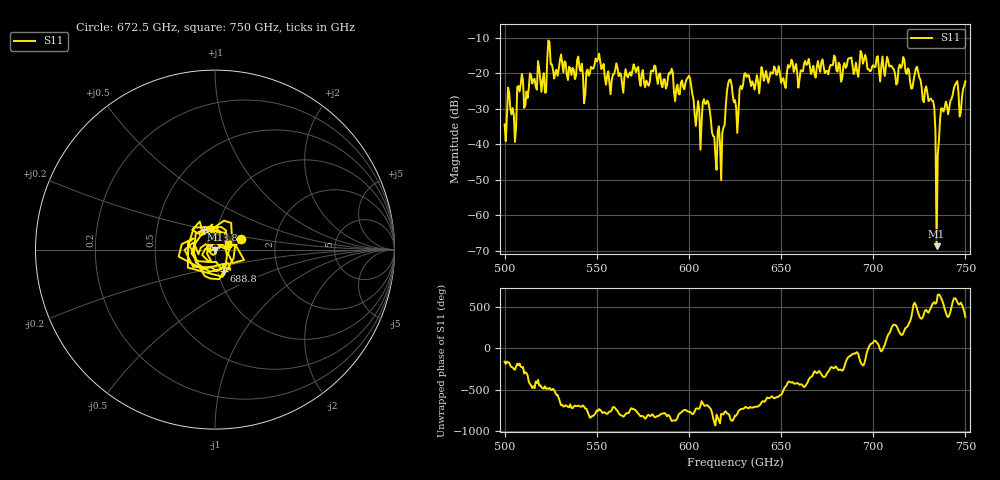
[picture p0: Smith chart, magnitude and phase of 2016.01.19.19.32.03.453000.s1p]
!Created with skrf (http://scikit-rf.org).
# GHz S RI R 50.0
!freq ReS11 ImS11
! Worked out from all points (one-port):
!   401 points, 500 GHz to 750 GHz, reference 50 ohm
!   lowest |S11| = -68.6 dB at 734.4 GHz (marker M1), VSWR 1.00, Z = 50 - j0.0122 ohm
!   |S11| at or under -10 dB: start of sweep to end of sweep
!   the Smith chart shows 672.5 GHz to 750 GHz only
!   S11 on the Smith chart (normalised r, x): 672.5 GHz: 1.33, +0.16; 688.8 GHz: 1.07, -0.26; 723.8 GHz: 0.87, +0.19; 750 GHz: 1.15, +0.07
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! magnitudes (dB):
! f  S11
! 500 GHz  -34.4
! 503.1 GHz  -30.1
! 505 GHz  -31.8
! 508.1 GHz  -25.2
! 511.9 GHz  -25.1
! 521.2 GHz  -20.0
! 524.4 GHz  -11.3
! 531.2 GHz  -17.3
! 562.5 GHz  -20.0
! 590 GHz  -20.1
! 593.8 GHz  -23.2
! 600 GHz  -20.7
! 605 GHz  -27.8
! 609.4 GHz  -28.5
! 616.2 GHz  -34.9
! 621.9 GHz  -21.9
! 625 GHz  -27.6
! 631.2 GHz  -21.0
! 656.2 GHz  -16.9
! 672.5 GHz  -16.1
! 687.5 GHz  -15.8
! 688.8 GHz  -17.8
! 718.8 GHz  -18.6
! 723.8 GHz  -18.1
! 731.9 GHz  -27.7
! 734.4 GHz  -68.6
! 738.1 GHz  -30.8
! 750 GHz  -22.3
